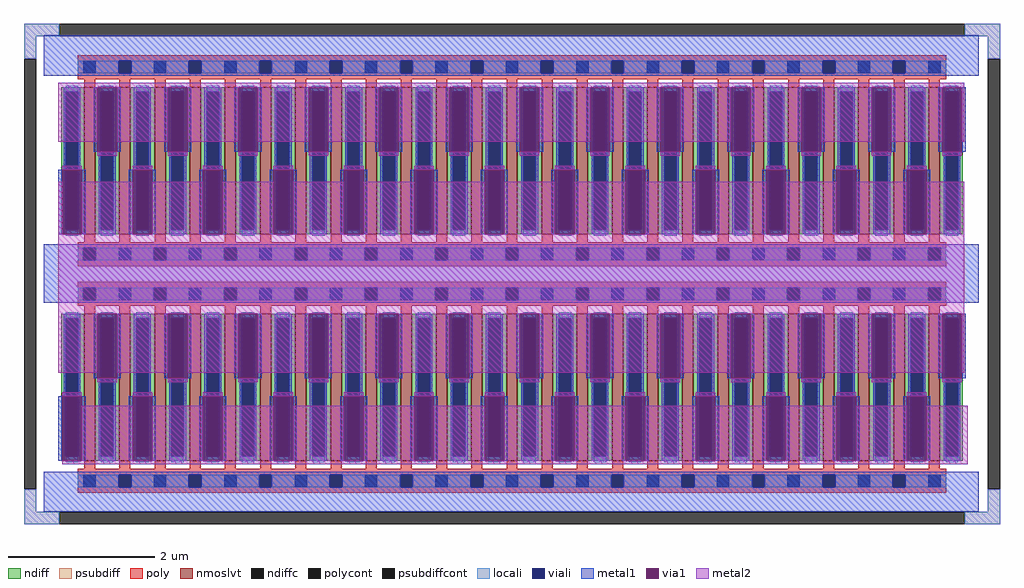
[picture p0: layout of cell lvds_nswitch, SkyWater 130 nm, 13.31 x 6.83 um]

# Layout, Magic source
magic
tech sky130A
magscale 1 2
<< poly >>
rect 82 1200 2452 1216
rect 82 1166 194 1200
rect 228 1166 386 1200
rect 420 1166 578 1200
rect 612 1166 770 1200
rect 804 1166 962 1200
rect 996 1166 1154 1200
rect 1188 1166 1346 1200
rect 1380 1166 1538 1200
rect 1572 1166 1730 1200
rect 1764 1166 1922 1200
rect 1956 1166 2114 1200
rect 2148 1166 2306 1200
rect 2340 1166 2452 1200
rect 82 1150 2452 1166
rect 82 690 2452 706
rect 82 656 98 690
rect 132 656 290 690
rect 324 656 482 690
rect 516 656 674 690
rect 708 656 866 690
rect 900 656 1058 690
rect 1092 656 1250 690
rect 1284 656 1442 690
rect 1476 656 1634 690
rect 1668 656 1826 690
rect 1860 656 2018 690
rect 2052 656 2210 690
rect 2244 656 2402 690
rect 2436 656 2452 690
rect 82 640 2452 656
rect 82 582 2452 598
rect 82 548 98 582
rect 132 548 290 582
rect 324 548 482 582
rect 516 548 674 582
rect 708 548 866 582
rect 900 548 1058 582
rect 1092 548 1250 582
rect 1284 548 1442 582
rect 1476 548 1634 582
rect 1668 548 1826 582
rect 1860 548 2018 582
rect 2052 548 2210 582
rect 2244 548 2402 582
rect 2436 548 2452 582
rect 82 532 2452 548
rect 82 72 2452 88
rect 82 38 194 72
rect 228 38 386 72
rect 420 38 578 72
rect 612 38 770 72
rect 804 38 962 72
rect 996 38 1154 72
rect 1188 38 1346 72
rect 1380 38 1538 72
rect 1572 38 1730 72
rect 1764 38 1922 72
rect 1956 38 2114 72
rect 2148 38 2306 72
rect 2340 38 2452 72
rect 82 22 2452 38
<< polycont >>
rect 194 1166 228 1200
rect 386 1166 420 1200
rect 578 1166 612 1200
rect 770 1166 804 1200
rect 962 1166 996 1200
rect 1154 1166 1188 1200
rect 1346 1166 1380 1200
rect 1538 1166 1572 1200
rect 1730 1166 1764 1200
rect 1922 1166 1956 1200
rect 2114 1166 2148 1200
rect 2306 1166 2340 1200
rect 98 656 132 690
rect 290 656 324 690
rect 482 656 516 690
rect 674 656 708 690
rect 866 656 900 690
rect 1058 656 1092 690
rect 1250 656 1284 690
rect 1442 656 1476 690
rect 1634 656 1668 690
rect 1826 656 1860 690
rect 2018 656 2052 690
rect 2210 656 2244 690
rect 2402 656 2436 690
rect 98 548 132 582
rect 290 548 324 582
rect 482 548 516 582
rect 674 548 708 582
rect 866 548 900 582
rect 1058 548 1092 582
rect 1250 548 1284 582
rect 1442 548 1476 582
rect 1634 548 1668 582
rect 1826 548 1860 582
rect 2018 548 2052 582
rect 2210 548 2244 582
rect 2402 548 2436 582
rect 194 38 228 72
rect 386 38 420 72
rect 578 38 612 72
rect 770 38 804 72
rect 962 38 996 72
rect 1154 38 1188 72
rect 1346 38 1380 72
rect 1538 38 1572 72
rect 1730 38 1764 72
rect 1922 38 1956 72
rect 2114 38 2148 72
rect 2306 38 2340 72
<< locali >>
rect 82 1166 194 1200
rect 228 1166 386 1200
rect 420 1166 578 1200
rect 612 1166 770 1200
rect 804 1166 962 1200
rect 996 1166 1154 1200
rect 1188 1166 1346 1200
rect 1380 1166 1538 1200
rect 1572 1166 1730 1200
rect 1764 1166 1922 1200
rect 1956 1166 2114 1200
rect 2148 1166 2306 1200
rect 2340 1166 2452 1200
rect 82 656 98 690
rect 132 656 290 690
rect 324 656 482 690
rect 516 656 674 690
rect 708 656 866 690
rect 900 656 1058 690
rect 1092 656 1250 690
rect 1284 656 1442 690
rect 1476 656 1634 690
rect 1668 656 1826 690
rect 1860 656 2018 690
rect 2052 656 2210 690
rect 2244 656 2402 690
rect 2436 656 2452 690
rect 82 548 98 582
rect 132 548 290 582
rect 324 548 482 582
rect 516 548 674 582
rect 708 548 866 582
rect 900 548 1058 582
rect 1092 548 1250 582
rect 1284 548 1442 582
rect 1476 548 1634 582
rect 1668 548 1826 582
rect 1860 548 2018 582
rect 2052 548 2210 582
rect 2244 548 2402 582
rect 2436 548 2452 582
rect 82 38 194 72
rect 228 38 386 72
rect 420 38 578 72
rect 612 38 770 72
rect 804 38 962 72
rect 996 38 1154 72
rect 1188 38 1346 72
rect 1380 38 1538 72
rect 1572 38 1730 72
rect 1764 38 1922 72
rect 1956 38 2114 72
rect 2148 38 2306 72
rect 2340 38 2452 72
<< viali >>
rect 194 1166 228 1200
rect 386 1166 420 1200
rect 578 1166 612 1200
rect 770 1166 804 1200
rect 962 1166 996 1200
rect 1154 1166 1188 1200
rect 1346 1166 1380 1200
rect 1538 1166 1572 1200
rect 1730 1166 1764 1200
rect 1922 1166 1956 1200
rect 2114 1166 2148 1200
rect 2306 1166 2340 1200
rect 98 656 132 690
rect 290 656 324 690
rect 482 656 516 690
rect 674 656 708 690
rect 866 656 900 690
rect 1058 656 1092 690
rect 1250 656 1284 690
rect 1442 656 1476 690
rect 1634 656 1668 690
rect 1826 656 1860 690
rect 2018 656 2052 690
rect 2210 656 2244 690
rect 2402 656 2436 690
rect 98 548 132 582
rect 290 548 324 582
rect 482 548 516 582
rect 674 548 708 582
rect 866 548 900 582
rect 1058 548 1092 582
rect 1250 548 1284 582
rect 1442 548 1476 582
rect 1634 548 1668 582
rect 1826 548 1860 582
rect 2018 548 2052 582
rect 2210 548 2244 582
rect 2402 548 2436 582
rect 194 38 228 72
rect 386 38 420 72
rect 578 38 612 72
rect 770 38 804 72
rect 962 38 996 72
rect 1154 38 1188 72
rect 1346 38 1380 72
rect 1538 38 1572 72
rect 1730 38 1764 72
rect 1922 38 1956 72
rect 2114 38 2148 72
rect 2306 38 2340 72
<< metal1 >>
rect -10 1200 2540 1270
rect -10 1166 194 1200
rect 228 1166 386 1200
rect 420 1166 578 1200
rect 612 1166 770 1200
rect 804 1166 962 1200
rect 996 1166 1154 1200
rect 1188 1166 1346 1200
rect 1380 1166 1538 1200
rect 1572 1166 1730 1200
rect 1764 1166 1922 1200
rect 1956 1166 2114 1200
rect 2148 1166 2306 1200
rect 2340 1166 2540 1200
rect -10 1160 2540 1166
rect 126 952 136 1128
rect 190 952 200 1128
rect 318 952 328 1128
rect 382 952 392 1128
rect 510 952 520 1128
rect 574 952 584 1128
rect 702 952 712 1128
rect 766 952 776 1128
rect 894 952 904 1128
rect 958 952 968 1128
rect 1086 952 1096 1128
rect 1150 952 1160 1128
rect 1278 952 1288 1128
rect 1342 952 1352 1128
rect 1470 952 1480 1128
rect 1534 952 1544 1128
rect 1662 952 1672 1128
rect 1726 952 1736 1128
rect 1854 952 1864 1128
rect 1918 952 1928 1128
rect 2046 952 2056 1128
rect 2110 952 2120 1128
rect 2238 952 2248 1128
rect 2302 952 2312 1128
rect 2430 952 2440 1128
rect 2494 952 2504 1128
rect 30 728 40 904
rect 94 728 104 904
rect 222 728 232 904
rect 286 728 296 904
rect 414 728 424 904
rect 478 728 488 904
rect 606 728 616 904
rect 670 728 680 904
rect 798 728 808 904
rect 862 728 872 904
rect 990 728 1000 904
rect 1054 728 1064 904
rect 1182 728 1192 904
rect 1246 728 1256 904
rect 1374 728 1384 904
rect 1438 728 1448 904
rect 1566 728 1576 904
rect 1630 728 1640 904
rect 1758 728 1768 904
rect 1822 728 1832 904
rect 1950 728 1960 904
rect 2014 728 2024 904
rect 2142 728 2152 904
rect 2206 728 2216 904
rect 2334 728 2344 904
rect 2398 728 2408 904
rect -10 690 2540 700
rect -10 656 98 690
rect 132 656 290 690
rect 324 656 482 690
rect 516 656 674 690
rect 708 656 866 690
rect 900 656 1058 690
rect 1092 656 1250 690
rect 1284 656 1442 690
rect 1476 656 1634 690
rect 1668 656 1826 690
rect 1860 656 2018 690
rect 2052 656 2210 690
rect 2244 656 2402 690
rect 2436 656 2540 690
rect -10 582 2540 656
rect -10 548 98 582
rect 132 548 290 582
rect 324 548 482 582
rect 516 548 674 582
rect 708 548 866 582
rect 900 548 1058 582
rect 1092 548 1250 582
rect 1284 548 1442 582
rect 1476 548 1634 582
rect 1668 548 1826 582
rect 1860 548 2018 582
rect 2052 548 2210 582
rect 2244 548 2402 582
rect 2436 548 2540 582
rect -10 540 2540 548
rect 126 334 136 510
rect 190 334 200 510
rect 318 334 328 510
rect 382 334 392 510
rect 510 334 520 510
rect 574 334 584 510
rect 702 334 712 510
rect 766 334 776 510
rect 894 334 904 510
rect 958 334 968 510
rect 1086 334 1096 510
rect 1150 334 1160 510
rect 1278 334 1288 510
rect 1342 334 1352 510
rect 1470 334 1480 510
rect 1534 334 1544 510
rect 1662 334 1672 510
rect 1726 334 1736 510
rect 1854 334 1864 510
rect 1918 334 1928 510
rect 2046 334 2056 510
rect 2110 334 2120 510
rect 2238 334 2248 510
rect 2302 334 2312 510
rect 2430 334 2440 510
rect 2494 334 2504 510
rect 30 110 40 286
rect 94 110 104 286
rect 222 110 232 286
rect 286 110 296 286
rect 414 110 424 286
rect 478 110 488 286
rect 606 110 616 286
rect 670 110 680 286
rect 798 110 808 286
rect 862 110 872 286
rect 990 110 1000 286
rect 1054 110 1064 286
rect 1182 110 1192 286
rect 1246 110 1256 286
rect 1374 110 1384 286
rect 1438 110 1448 286
rect 1566 110 1576 286
rect 1630 110 1640 286
rect 1758 110 1768 286
rect 1822 110 1832 286
rect 1950 110 1960 286
rect 2014 110 2024 286
rect 2142 110 2152 286
rect 2206 110 2216 286
rect 2334 110 2344 286
rect 2398 110 2408 286
rect -10 72 2540 80
rect -10 38 194 72
rect 228 38 386 72
rect 420 38 578 72
rect 612 38 770 72
rect 804 38 962 72
rect 996 38 1154 72
rect 1188 38 1346 72
rect 1380 38 1538 72
rect 1572 38 1730 72
rect 1764 38 1922 72
rect 1956 38 2114 72
rect 2148 38 2306 72
rect 2340 38 2540 72
rect -10 -30 2540 38
<< via1 >>
rect 136 952 190 1128
rect 328 952 382 1128
rect 520 952 574 1128
rect 712 952 766 1128
rect 904 952 958 1128
rect 1096 952 1150 1128
rect 1288 952 1342 1128
rect 1480 952 1534 1128
rect 1672 952 1726 1128
rect 1864 952 1918 1128
rect 2056 952 2110 1128
rect 2248 952 2302 1128
rect 2440 952 2494 1128
rect 40 728 94 904
rect 232 728 286 904
rect 424 728 478 904
rect 616 728 670 904
rect 808 728 862 904
rect 1000 728 1054 904
rect 1192 728 1246 904
rect 1384 728 1438 904
rect 1576 728 1630 904
rect 1768 728 1822 904
rect 1960 728 2014 904
rect 2152 728 2206 904
rect 2344 728 2398 904
rect 136 334 190 510
rect 328 334 382 510
rect 520 334 574 510
rect 712 334 766 510
rect 904 334 958 510
rect 1096 334 1150 510
rect 1288 334 1342 510
rect 1480 334 1534 510
rect 1672 334 1726 510
rect 1864 334 1918 510
rect 2056 334 2110 510
rect 2248 334 2302 510
rect 2440 334 2494 510
rect 40 110 94 286
rect 232 110 286 286
rect 424 110 478 286
rect 616 110 670 286
rect 808 110 862 286
rect 1000 110 1054 286
rect 1192 110 1246 286
rect 1384 110 1438 286
rect 1576 110 1630 286
rect 1768 110 1822 286
rect 1960 110 2014 286
rect 2152 110 2206 286
rect 2344 110 2398 286
<< metal2 >>
rect 30 1128 2500 1140
rect 30 980 136 1128
rect 190 980 328 1128
rect 136 942 190 952
rect 382 980 520 1128
rect 328 942 382 952
rect 574 980 712 1128
rect 520 942 574 952
rect 766 980 904 1128
rect 712 942 766 952
rect 958 980 1096 1128
rect 904 942 958 952
rect 1150 980 1288 1128
rect 1096 942 1150 952
rect 1342 980 1480 1128
rect 1288 942 1342 952
rect 1534 980 1672 1128
rect 1480 942 1534 952
rect 1726 980 1864 1128
rect 1672 942 1726 952
rect 1918 980 2056 1128
rect 1864 942 1918 952
rect 2110 980 2248 1128
rect 2056 942 2110 952
rect 2302 980 2440 1128
rect 2248 942 2302 952
rect 2494 980 2500 1128
rect 2440 942 2494 952
rect 40 904 94 914
rect 30 728 40 870
rect 232 904 286 914
rect 94 728 232 870
rect 424 904 478 914
rect 286 728 424 870
rect 616 904 670 914
rect 478 728 616 870
rect 808 904 862 914
rect 670 728 808 870
rect 1000 904 1054 914
rect 862 728 1000 870
rect 1192 904 1246 914
rect 1054 728 1192 870
rect 1384 904 1438 914
rect 1246 728 1384 870
rect 1576 904 1630 914
rect 1438 728 1576 870
rect 1768 904 1822 914
rect 1630 728 1768 870
rect 1960 904 2014 914
rect 1822 728 1960 870
rect 2152 904 2206 914
rect 2014 728 2152 870
rect 2344 904 2398 914
rect 2206 728 2344 870
rect 2398 728 2500 870
rect 30 510 2500 728
rect 30 350 136 510
rect 190 350 328 510
rect 136 324 190 334
rect 382 350 520 510
rect 328 324 382 334
rect 574 350 712 510
rect 520 324 574 334
rect 766 350 904 510
rect 712 324 766 334
rect 958 350 1096 510
rect 904 324 958 334
rect 1150 350 1288 510
rect 1096 324 1150 334
rect 1342 350 1480 510
rect 1288 324 1342 334
rect 1534 350 1672 510
rect 1480 324 1534 334
rect 1726 350 1864 510
rect 1672 324 1726 334
rect 1918 350 2056 510
rect 1864 324 1918 334
rect 2110 350 2248 510
rect 2056 324 2110 334
rect 2302 350 2440 510
rect 2248 324 2302 334
rect 2494 350 2500 510
rect 2440 324 2494 334
rect 40 286 94 296
rect 232 286 286 296
rect 94 110 232 260
rect 424 286 478 296
rect 286 110 424 260
rect 616 286 670 296
rect 478 110 616 260
rect 808 286 862 296
rect 670 110 808 260
rect 1000 286 1054 296
rect 862 110 1000 260
rect 1192 286 1246 296
rect 1054 110 1192 260
rect 1384 286 1438 296
rect 1246 110 1384 260
rect 1576 286 1630 296
rect 1438 110 1576 260
rect 1768 286 1822 296
rect 1630 110 1768 260
rect 1960 286 2014 296
rect 1822 110 1960 260
rect 2152 286 2206 296
rect 2014 110 2152 260
rect 2344 286 2398 296
rect 2206 110 2344 260
rect 2398 110 2510 260
rect 40 100 2510 110
use sky130_fd_pr__nfet_01v8_lvt_RE4MKQ  sky130_fd_pr__nfet_01v8_lvt_RE4MKQ_0
transform 1 0 1267 0 1 619
box -1367 -719 1367 719
<< end >>

# cell sky130_fd_pr__nfet_01v8_lvt_RE4MKQ: kit device sky130_fd_pr__nfet_01v8_lvt, w 2 l 0.150 m 2 nf 25 diffcov 100 polycov 100 guard 1 glc 1 grc 1 gtc 1 gbc 1 tbcov 100 rlcov 100 topc 1 botc 1 poverlap 0 doverlap 1 lmin 0.15 wmin 0.42 compatible {sky130_fd_pr__nfet_01v8 sky130_fd_pr__nfet_01v8_lvt sky130_fd_bs_flash__special_sonosfet_star sky130_fd_pr__nfet_g5v0d10v5 sky130_fd_pr__nfet_05v0_nvt sky130_fd_pr__nfet_03v3_nvt} full_metal 1 viasrc 100 viadrn 100 viagate 100 viagb 0 viagr 0 viagl 0 viagt 0
